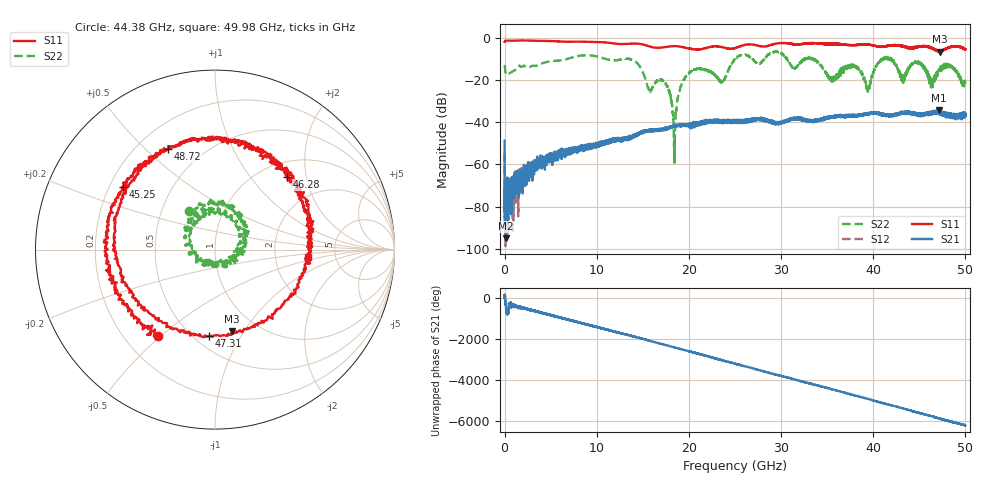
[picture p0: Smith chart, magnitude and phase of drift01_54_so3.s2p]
!Created with skrf (http://scikit-rf.org).
# Hz S RI R 50.0
!freq ReS11 ImS11 ReS21 ImS21 ReS12 ImS12 ReS22 ImS22
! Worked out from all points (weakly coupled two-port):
!   10001 points, 300 kHz to 50 GHz, reference 50 ohm
!   highest |S21| = -34.42 dB at 47.16 GHz (marker M1); lowest = -94.9 dB at 160.3 MHz (marker M2)
!   lowest |S11| = -6.7 dB at 47.21 GHz (marker M3), VSWR 2.74, Z = 38.3 - j44.4 ohm
!   |S11| at or under -10 dB: nowhere
!   |S22| runs from -59.2 to -6.6 dB; largest |S21 - S12| = 0.0046
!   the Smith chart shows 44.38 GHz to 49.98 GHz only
!   S11 on the Smith chart (normalised r, x): 44.38 GHz: 0.34, -0.49; 45.25 GHz: 0.25, +0.29; 46.28 GHz: 1.29, +1.54; 47.31 GHz: 0.59, -0.74; 48.72 GHz: 0.33, +0.59; 49.98 GHz: 3.13, -0.34
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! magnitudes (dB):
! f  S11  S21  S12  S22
! 300 kHz  -2.1  -48.7  -54.8  -12.9
! 160.3 MHz  -1.5  -94.9  -76.7  -17.4
! 8.335 GHz  -1.9  -52.1  -51.9  -8.5
! 16.67 GHz  -4.8  -43.6  -43.8  -20.0
! 17.74 GHz  -4.3  -42.7  -42.9  -24.0
! 18.44 GHz  -4.0  -41.9  -41.9  -52.4
! 19.91 GHz  -5.1  -41.3  -41.4  -17.2
! 23.6 GHz  -4.5  -39.8  -39.1  -20.7
! 25 GHz  -5.0  -39.6  -39.5  -10.3
! 33.34 GHz  -2.6  -39.5  -39.4  -9.8
! 39.46 GHz  -3.3  -35.6  -35.9  -23.5
! 41.67 GHz  -3.8  -36.4  -36.7  -9.7
! 43.19 GHz  -4.2  -35.7  -35.8  -18.8
! 44.38 GHz  -4.8  -35.8  -35.8  -11.8
! 45.25 GHz  -4.1  -36.5  -36.2  -12.6
! 46.28 GHz  -4.9  -35.8  -35.6  -20.9
! 47.16 GHz  -6.3  -34.4  -35.3  -15.2
! 47.21 GHz  -6.7  -35.7  -35.5  -14.8
! 47.31 GHz  -6.3  -35.1  -35.5  -14.6
! 48.72 GHz  -4.2  -36.5  -36.9  -14.4
! 49.98 GHz  -5.7  -36.6  -36.0  -21.5
! 50 GHz  -5.5  -36.4  -37.1  -21.5
